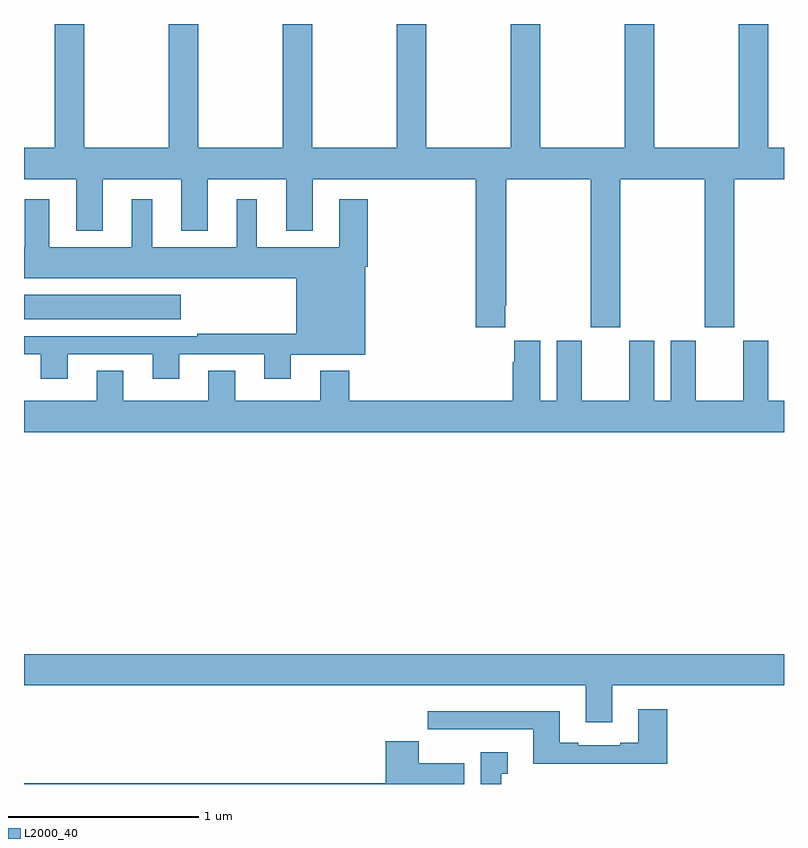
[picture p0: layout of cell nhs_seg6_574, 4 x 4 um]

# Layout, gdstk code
import gdstk
lib = gdstk.Library(unit=1e-6, precision=1e-09)
def R(c, l, rs):  # rectangles x0, y0, x1, y1
    for r in rs: c.add(gdstk.rectangle(r[:2], r[2:], *l))
def P(c, l, *ps):  # polygons
    for p in ps: c.add(gdstk.Polygon(p, *l))
L2000_40 = (2000, 40)

nhs_seg6_574 = lib.new_cell('nhs_seg6_574')
R(nhs_seg6_574, L2000_40, [(147,931.946,147.826,932.074)])
P(nhs_seg6_574, L2000_40, [(148.963,932.848),(148.518,932.848),(148.518,933.5),(148.363,933.5),(148.363,932.848),(147.918,932.848),(147.918,933.5),(147.763,933.5),(147.763,932.848),(147.318,932.848),(147.318,933.5),(147.163,933.5),(147.163,932.848),(147,932.848),(147,932.684),(147.275,932.684),(147.275,932.411),(147.415,932.411),(147.415,932.684),(147.827,932.684),(147.827,932.411),(147.967,932.411),(147.967,932.684),(148.379,932.684),(148.379,932.411),(148.519,932.411),(148.519,932.684),(149.378,932.684),(149.378,931.905),(149.533,931.905),(149.533,932.017),(149.538,932.017),(149.538,932.684),(149.983,932.684),(149.983,931.905),(150.138,931.905),(150.138,932.684),(150.583,932.684),(150.583,931.905),(150.738,931.905),(150.738,932.684),(151,932.684),(151,932.848),(150.918,932.848),(150.918,933.5),(150.763,933.5),(150.763,932.848),(150.318,932.848),(150.318,933.5),(150.163,933.5),(150.163,932.848),(149.718,932.848),(149.718,933.5),(149.563,933.5),(149.563,932.848),(149.118,932.848),(149.118,933.5),(148.963,933.5)],
  [(147.229,931.761),(147.677,931.761),(147.677,931.632),(147.817,931.632),(147.817,931.761),(148.265,931.761),(148.265,931.632),(148.405,931.632),(148.405,931.76),(148.795,931.76),(148.795,932.222),(148.808,932.222),(148.808,932.578),(148.658,932.578),(148.658,932.326),(148.225,932.326),(148.225,932.578),(148.121,932.578),(148.121,932.326),(147.676,932.326),(147.676,932.578),(147.566,932.578),(147.566,932.326),(147.133,932.326),(147.133,932.578),(147.005,932.578),(147.005,932.326),(147,932.326),(147,932.162),(148.433,932.162),(148.433,931.87),(147.913,931.87),(147.913,931.857),(147,931.857),(147,931.761),(147.089,931.761),(147.089,931.632),(147.229,931.632)],
  [(151,931.516),(150.916,931.516),(150.916,931.834),(150.785,931.834),(150.785,931.516),(150.535,931.516),(150.535,931.834),(150.404,931.834),(150.404,931.516),(150.316,931.516),(150.316,931.834),(150.185,931.834),(150.185,931.516),(149.935,931.516),(149.935,931.834),(149.804,931.834),(149.804,931.516),(149.716,931.516),(149.716,931.834),(149.579,931.834),(149.579,931.721),(149.573,931.721),(149.573,931.516),(148.712,931.516),(148.712,931.675),(148.559,931.675),(148.559,931.516),(148.111,931.516),(148.111,931.676),(147.971,931.676),(147.971,931.516),(147.523,931.516),(147.523,931.676),(147.383,931.676),(147.383,931.516),(147,931.516),(147,931.352),(151,931.352)],
  [(150.097,930.02),(151,930.02),(151,930.184),(147,930.184),(147,930.02),(149.957,930.02),(149.957,929.826),(150.097,929.826)],
  [(150.386,929.893),(150.233,929.893),(150.233,929.716),(150.137,929.716),(150.137,929.703),(149.917,929.703),(149.917,929.716),(149.821,929.716),(149.821,929.884),(149.124,929.884),(149.124,929.789),(149.233,929.789),(149.233,929.787),(149.681,929.787),(149.681,929.606),(150.386,929.606)],
  [(149.317,929.608),(149.077,929.608),(149.077,929.724),(148.904,929.724),(148.904,929.504),(147,929.504),(147,929.5),(149.317,929.5)],
  [(149.512,929.555),(149.545,929.555),(149.545,929.668),(149.405,929.668),(149.405,929.5),(149.512,929.5)])

lib.write_gds('nhs_seg6_574.gds')
